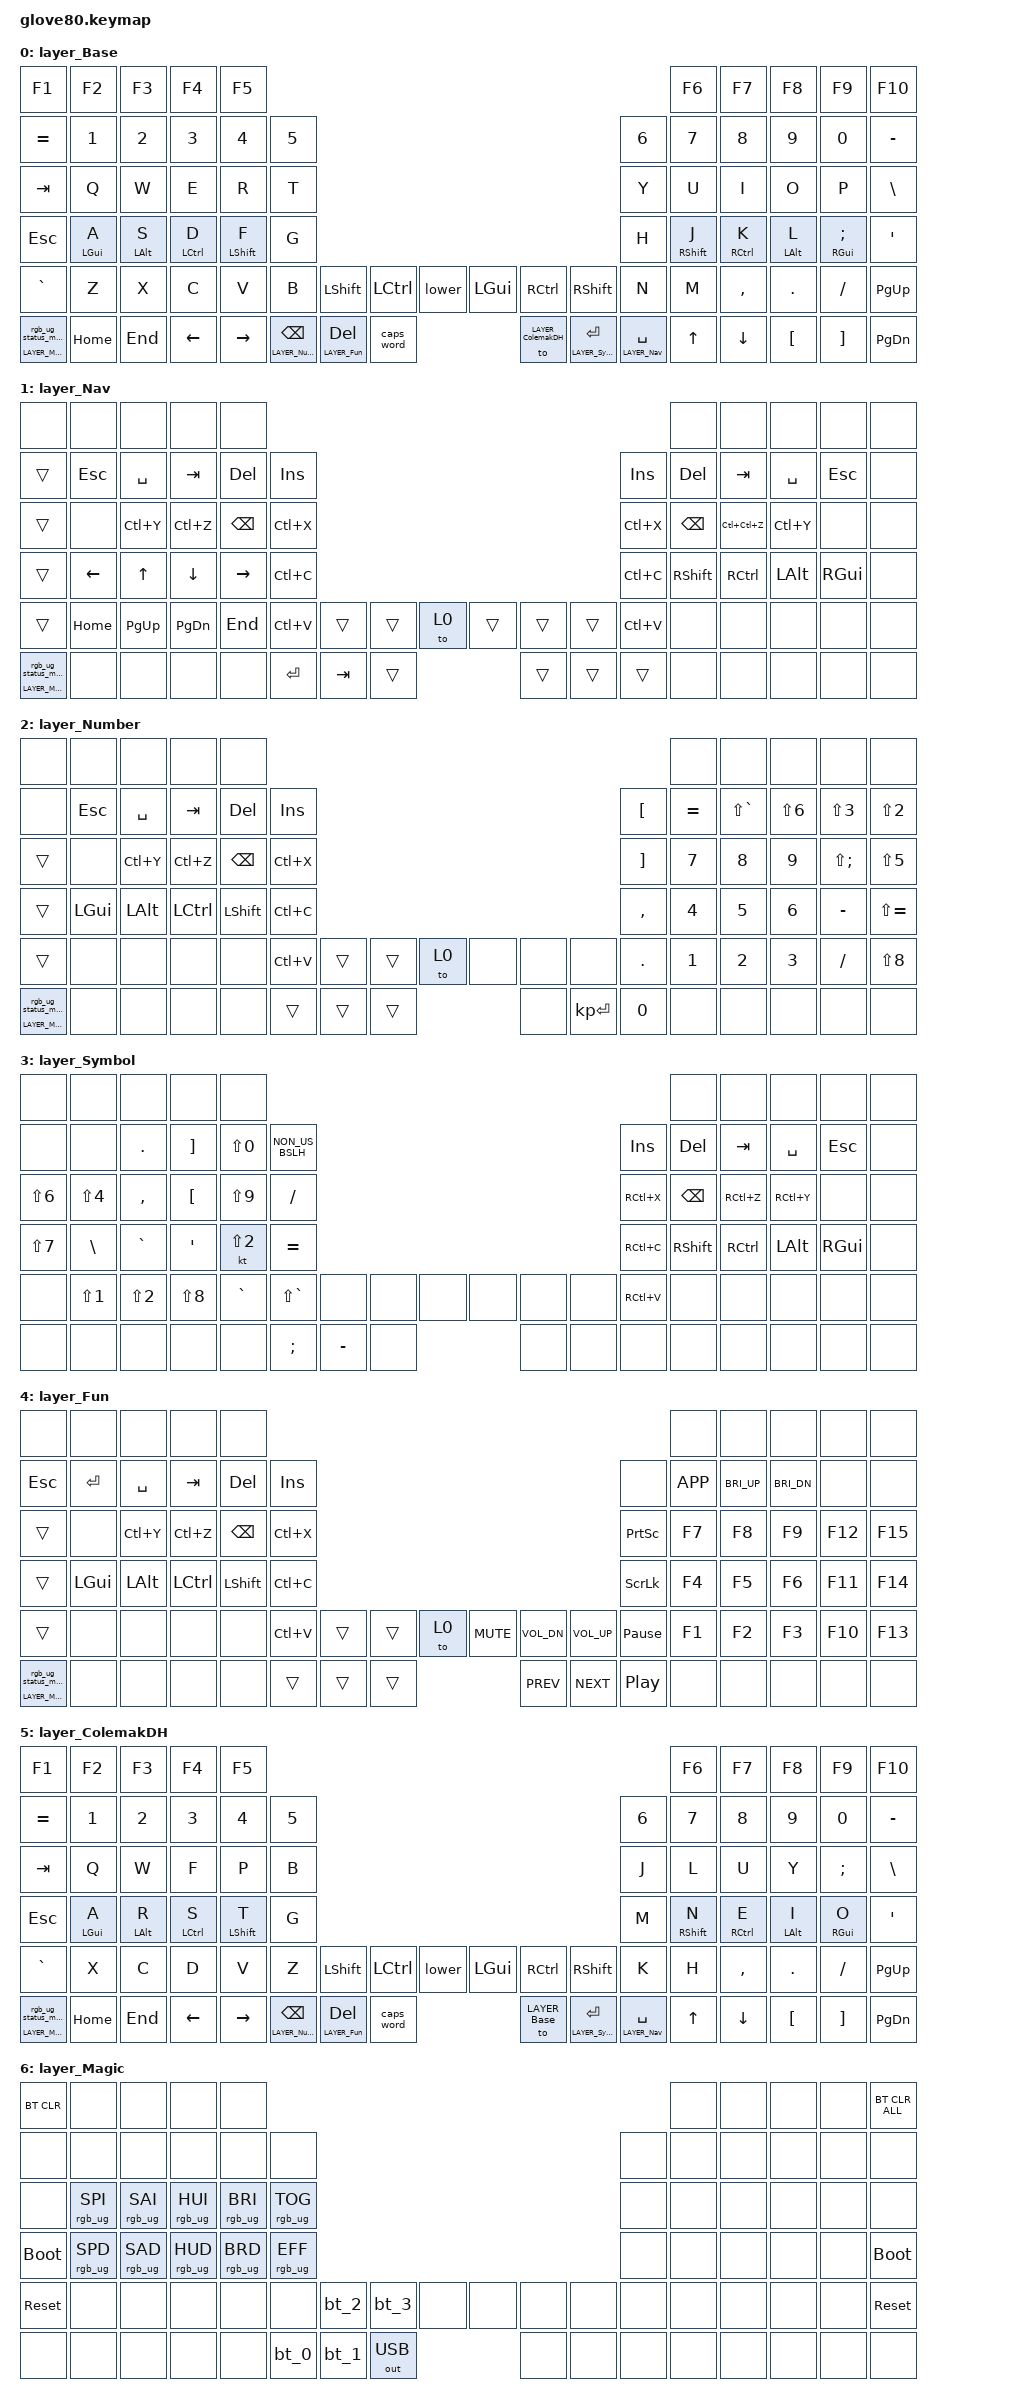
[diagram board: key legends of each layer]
/*
 * Copyright (c) 2020 The ZMK Contributors
 * Copyright (c) 2025 Innaworks Development Limited, trading as MoErgo
 *
 * SPDX-License-Identifier: MIT
 */


/* THIS FILE WAS GENERATED BY GLOVE80 LAYOUT EDITOR
 *
 * This file was generated automatically. You may or may not want to
 * edit it directly.
 */

#include <behaviors.dtsi>
/* Include all behavior includes needed */
#include <dt-bindings/zmk/outputs.h>
#include <dt-bindings/zmk/keys.h>
#include <dt-bindings/zmk/bt.h>
#include <dt-bindings/zmk/rgb.h>

/* On demand includes */


/* Helper Macros, based on https://github.com/urob/zmk-helpers/ */

#pragma once

#define ZMK_HELPER_STRINGIFY(x) #x

// Preprocessor mechanism to overload macros, cf. https://stackoverflow.com/a/27051616/6114651
#define VARGS_(_10, _9, _8, _7, _6, _5, _4, _3, _2, _1, N, ...) N
#define VARGS(...) VARGS_(__VA_ARGS__, 10, 9, 8, 7, 6, 5, 4, 3, 2, 1, 0)
#define CONCAT_(a, b) a##b
#define CONCAT(a, b) CONCAT_(a, b)

#define ZMK_BEHAVIOR_CORE_tap_dance  \
    compatible = "zmk,behavior-tap-dance"; \
    #binding-cells = <0>

#define ZMK_BEHAVIOR(name, type, ...) \
    name: name { \
        ZMK_BEHAVIOR_CORE_ ## type; \
        __VA_ARGS__ \
    };

#define ZMK_TAP_DANCE(name, ...) \
    ZMK_BEHAVIOR(name, tap_dance, __VA_ARGS__)

#define ZMK_TD_LAYER(name, layer) \
    ZMK_TAP_DANCE(name, \
        tapping-term-ms = <200>; \
        bindings = <&mo layer>, <&to layer>; \
)

/* Environment and metadata defines */
#define KB_TYPE_GLOVE_80 1
#define KB_TYPE_GO_60    2

#define KB_TYPE          KB_TYPE_GLOVE_80
#define EDITOR_HOST_OS   'W'

/* Automatically generated layer name defines */
#define LAYER_Base 0
#define LAYER_Nav 1
#define LAYER_Number 2
#define LAYER_Symbol 3
#define LAYER_Fun 4
#define LAYER_ColemakDH 5
#define LAYER_Magic 6

/* To deal with the situation where there is no Lower layer, to keep &lower happy */
#ifndef LAYER_Lower
#define LAYER_Lower 0
#endif

/* Custom Device-tree */


/* Input Listeners */


/* System behavior and Macros */
/ {
    behaviors {
        ZMK_TD_LAYER(lower, LAYER_Lower)
    };
};

/ {
    macros {
        rgb_ug_status_macro: rgb_ug_status_macro {
            label = "RGB_UG_STATUS";
            compatible = "zmk,behavior-macro";
            #binding-cells = <0>;
            bindings
                = <&rgb_ug RGB_STATUS>;
        };
    };
};


/ {
#ifdef BT_DISC_CMD
    behaviors {
        bt_0: bt_0 {
            compatible = "zmk,behavior-tap-dance";
            label = "BT_0";
            #binding-cells = <0>;
            tapping-term-ms = <200>;
            bindings = <&bt_select_0>, <&bt BT_DISC 0>;
        };
        bt_1: bt_1 {
            compatible = "zmk,behavior-tap-dance";
            label = "BT_1";
            #binding-cells = <0>;
            tapping-term-ms = <200>;
            bindings = <&bt_select_1>, <&bt BT_DISC 1>;
        };
        bt_2: bt_2 {
            compatible = "zmk,behavior-tap-dance";
            label = "BT_2";
            #binding-cells = <0>;
            tapping-term-ms = <200>;
            bindings = <&bt_select_2>, <&bt BT_DISC 2>;
        };
        bt_3: bt_3 {
            compatible = "zmk,behavior-tap-dance";
            label = "BT_3";
            #binding-cells = <0>;
            tapping-term-ms = <200>;
            bindings = <&bt_select_3>, <&bt BT_DISC 3>;
        };
    };
    macros {
        bt_select_0: bt_select_0 {
            label = "BT_SELECT_0";
            compatible = "zmk,behavior-macro";
            #binding-cells = <0>;
            bindings
                = <&out OUT_BLE>,
                  <&bt BT_SEL 0>;
        };
        bt_select_1: bt_select_1 {
            label = "BT_SELECT_1";
            compatible = "zmk,behavior-macro";
            #binding-cells = <0>;
            bindings
                = <&out OUT_BLE>,
                  <&bt BT_SEL 1>;
        };
        bt_select_2: bt_select_2 {
            label = "BT_SELECT_2";
            compatible = "zmk,behavior-macro";
            #binding-cells = <0>;
            bindings
                = <&out OUT_BLE>,
                  <&bt BT_SEL 2>;
        };
        bt_select_3: bt_select_3 {
            label = "BT_SELECT_3";
            compatible = "zmk,behavior-macro";
            #binding-cells = <0>;
            bindings
                = <&out OUT_BLE>,
                  <&bt BT_SEL 3>;
        };
    };
#else
    macros {
        bt_0: bt_0 {
            label = "BT_0";
            compatible = "zmk,behavior-macro";
            #binding-cells = <0>;
            bindings
                = <&out OUT_BLE>,
                  <&bt BT_SEL 0>;
        };
        bt_1: bt_1 {
            label = "BT_1";
            compatible = "zmk,behavior-macro";
            #binding-cells = <0>;
            bindings
                = <&out OUT_BLE>,
                  <&bt BT_SEL 1>;
        };
        bt_2: bt_2 {
            label = "BT_2";
            compatible = "zmk,behavior-macro";
            #binding-cells = <0>;
            bindings
                = <&out OUT_BLE>,
                  <&bt BT_SEL 2>;
        };
        bt_3: bt_3 {
            label = "BT_3";
            compatible = "zmk,behavior-macro";
            #binding-cells = <0>;
            bindings
                = <&out OUT_BLE>,
                  <&bt BT_SEL 3>;
        };
    };
#endif
};

/ {
    behaviors {
        magic: magic {
            compatible = "zmk,behavior-hold-tap";
            label = "MAGIC_HOLD_TAP";
            #binding-cells = <2>;
            flavor = "tap-preferred";
            tapping-term-ms = <200>;
            bindings = <&mo>, <&rgb_ug_status_macro>;
        };
    };
};


/* Locale-specific keycodes */

#define GB_N2 N2
#define GB_N3 N3
#define GB_N4 N4
#define GB_A A
#define GB_E E
#define GB_I I
#define GB_O O
#define GB_U U
#define GB_POUND BACKSLASH
#define GB_BACKSLASH NON_US_BACKSLASH
#define GB_GRAVE GRAVE
#define GB_APOS SQT


/* Key positions */

#define POS_LH_C6R1 0
#define POS_LH_C5R1 1
#define POS_LH_C4R1 2
#define POS_LH_C3R1 3
#define POS_LH_C2R1 4
#define POS_RH_C2R1 5
#define POS_RH_C3R1 6
#define POS_RH_C4R1 7
#define POS_RH_C5R1 8
#define POS_RH_C6R1 9
#define POS_LH_C6R2 10
#define POS_LH_C5R2 11
#define POS_LH_C4R2 12
#define POS_LH_C3R2 13
#define POS_LH_C2R2 14
#define POS_LH_C1R2 15
#define POS_RH_C1R2 16
#define POS_RH_C2R2 17
#define POS_RH_C3R2 18
#define POS_RH_C4R2 19
#define POS_RH_C5R2 20
#define POS_RH_C6R2 21
#define POS_LH_C6R3 22
#define POS_LH_C5R3 23
#define POS_LH_C4R3 24
#define POS_LH_C3R3 25
#define POS_LH_C2R3 26
#define POS_LH_C1R3 27
#define POS_RH_C1R3 28
#define POS_RH_C2R3 29
#define POS_RH_C3R3 30
#define POS_RH_C4R3 31
#define POS_RH_C5R3 32
#define POS_RH_C6R3 33
#define POS_LH_C6R4 34
#define POS_LH_C5R4 35
#define POS_LH_C4R4 36
#define POS_LH_C3R4 37
#define POS_LH_C2R4 38
#define POS_LH_C1R4 39
#define POS_RH_C1R4 40
#define POS_RH_C2R4 41
#define POS_RH_C3R4 42
#define POS_RH_C4R4 43
#define POS_RH_C5R4 44
#define POS_RH_C6R4 45
#define POS_LH_C6R5 46
#define POS_LH_C5R5 47
#define POS_LH_C4R5 48
#define POS_LH_C3R5 49
#define POS_LH_C2R5 50
#define POS_LH_C1R5 51
#define POS_LH_T1 52
#define POS_LH_T2 53
#define POS_LH_T3 54
#define POS_RH_T3 55
#define POS_RH_T2 56
#define POS_RH_T1 57
#define POS_RH_C1R5 58
#define POS_RH_C2R5 59
#define POS_RH_C3R5 60
#define POS_RH_C4R5 61
#define POS_RH_C5R5 62
#define POS_RH_C6R5 63
#define POS_LH_C6R6 64
#define POS_LH_C5R6 65
#define POS_LH_C4R6 66
#define POS_LH_C3R6 67
#define POS_LH_C2R6 68
#define POS_LH_T4 69
#define POS_LH_T5 70
#define POS_LH_T6 71
#define POS_RH_T6 72
#define POS_RH_T5 73
#define POS_RH_T4 74
#define POS_RH_C2R6 75
#define POS_RH_C3R6 76
#define POS_RH_C4R6 77
#define POS_RH_C5R6 78
#define POS_RH_C6R6 79


/* Custom Defined Behaviors */
/ {

};

/* Generated input processors */


/* Automatically generated macro definitions */
/ {
    macros {

    };
};

/* Automatically generated behavior definitions */
/ {
    behaviors {


        // Home row mod - Timeless setup - Left hand
        hml: hml {
            compatible = "zmk,behavior-hold-tap";
            #binding-cells = <2>;
            tapping-term-ms = <280>;
            bindings = <&kp>, <&kp>;
            flavor = "balanced";
            quick-tap-ms = <175>;
            require-prior-idle-ms = <150>;
            hold-trigger-key-positions = <POS_RH_C1R2 POS_RH_C2R2 POS_RH_C3R2 POS_RH_C2R1 POS_RH_C3R1 POS_RH_C4R1 POS_RH_C4R2 POS_RH_C5R1 POS_RH_C5R2 POS_RH_C6R1 POS_RH_C6R2 POS_RH_C1R3 POS_RH_C4R3 POS_RH_C3R4 POS_RH_C3R3 POS_RH_C2R3 POS_RH_C2R4 POS_RH_C1R4 POS_RH_C1R5 POS_RH_C2R5 POS_RH_C3R5 POS_RH_C2R6 POS_RH_C4R6 POS_RH_C4R4 POS_RH_C4R5 POS_RH_C3R6 POS_RH_C5R5 POS_RH_C5R4 POS_RH_C5R3 POS_RH_C6R3 POS_RH_C6R4 POS_RH_C6R5 POS_RH_C5R6 POS_RH_C6R6 POS_RH_T1 POS_RH_T2 POS_RH_T3 POS_RH_T6 POS_RH_T5 POS_RH_T4>;
            hold-trigger-on-release;
        };

        // Home row mod - Timeless setup - Right hand
        hmr: hmr {
            compatible = "zmk,behavior-hold-tap";
            #binding-cells = <2>;
            tapping-term-ms = <280>;
            bindings = <&kp>, <&kp>;
            flavor = "balanced";
            quick-tap-ms = <175>;
            require-prior-idle-ms = <150>;
            hold-trigger-key-positions = <POS_LH_T3 POS_LH_T2 POS_LH_T1 POS_LH_T4 POS_LH_T5 POS_LH_T6 POS_LH_C6R6 POS_LH_C5R6 POS_LH_C5R5 POS_LH_C6R5 POS_LH_C6R4 POS_LH_C5R4 POS_LH_C5R3 POS_LH_C6R3 POS_LH_C6R2 POS_LH_C5R2 POS_LH_C5R1 POS_LH_C6R1 POS_LH_C4R1 POS_LH_C3R1 POS_LH_C2R1 POS_LH_C2R2 POS_LH_C3R2 POS_LH_C4R2 POS_LH_C4R3 POS_LH_C3R3 POS_LH_C3R4 POS_LH_C4R4 POS_LH_C4R5 POS_LH_C3R5 POS_LH_C3R6 POS_LH_C4R6 POS_LH_C2R6 POS_LH_C2R5 POS_LH_C1R5 POS_LH_C1R4 POS_LH_C2R4 POS_LH_C2R3 POS_LH_C1R3 POS_LH_C1R2>;
            hold-trigger-on-release;
        };
    };
};

/* Automatically generated combos definitions */


/* Automatically generated keymap */
/ {
    keymap {
        compatible = "zmk,keymap";


        layer_Base {
            bindings = <
               &kp F1       &kp F2       &kp F3        &kp F4        &kp F5                                                                                                                                                &kp F6        &kp F7       &kp F8          &kp F9    &kp F10
            &kp EQUAL       &kp N1       &kp N2        &kp N3        &kp N4  &kp N5                                                                                                                          &kp N6        &kp N7        &kp N8       &kp N9          &kp N0  &kp MINUS
              &kp TAB        &kp Q        &kp W         &kp E         &kp R   &kp T                                                                                                                           &kp Y         &kp U         &kp I        &kp O           &kp P   &kp BSLH
              &kp ESC  &hml LGUI A  &hml LALT S  &hml LCTRL D  &hml LSHFT F   &kp G                                                                                                                           &kp H  &hmr RSHFT J  &hmr RCTRL K  &hmr LALT L  &hmr RGUI SEMI    &kp SQT
            &kp GRAVE        &kp Z        &kp X         &kp C         &kp V   &kp B              &kp LSHFT          &kp LCTRL      &lower             &kp LGUI             &kp RCTRL              &kp RSHFT   &kp N         &kp M     &kp COMMA      &kp DOT        &kp FSLH  &kp PG_UP
 &magic LAYER_Magic 0     &kp HOME      &kp END      &kp LEFT     &kp RIGHT          &lt LAYER_Number BSPC  &lt LAYER_Fun DEL  &caps_word  &to LAYER_ColemakDH  &lt LAYER_Symbol RET    &lt LAYER_Nav SPACE                &kp UP      &kp DOWN     &kp LBKT        &kp RBKT  &kp PG_DN
            >;
        };

        layer_Nav {
            bindings = <
                &none     &none      &none      &none      &none                                                                              &none          &none      &none     &none   &none
               &trans   &kp ESC  &kp SPACE    &kp TAB    &kp DEL    &kp INS                                                      &kp INS    &kp DEL        &kp TAB  &kp SPACE   &kp ESC   &none
               &trans     &none  &kp LC(Y)  &kp LC(Z)   &kp BSPC  &kp LC(X)                                                    &kp LC(X)   &kp BSPC  &kp LC(LC(Z))  &kp LC(Y)     &none   &none
               &trans  &kp LEFT     &kp UP   &kp DOWN  &kp RIGHT  &kp LC(C)                                                    &kp LC(C)  &kp RSHFT      &kp RCTRL   &kp LALT  &kp RGUI   &none
               &trans  &kp HOME  &kp PG_UP  &kp PG_DN    &kp END  &kp LC(V)   &trans   &trans   &to 0  &trans  &trans  &trans  &kp LC(V)      &none          &none      &none     &none   &none
 &magic LAYER_Magic 0     &none      &none      &none      &none             &kp RET  &kp TAB  &trans  &trans  &trans  &trans                 &none          &none      &none     &none   &none
            >;
        };

        layer_Number {
            bindings = <
                &none     &none      &none      &none      &none                                                                                  &none          &none       &none         &none          &none
                &none   &kp ESC  &kp SPACE    &kp TAB    &kp DEL    &kp INS                                                         &kp LBKT  &kp EQUAL  &kp LS(GRAVE)  &kp LS(N6)    &kp LS(N3)     &kp LS(N2)
               &trans     &none  &kp LC(Y)  &kp LC(Z)   &kp BSPC  &kp LC(X)                                                         &kp RBKT     &kp N7         &kp N8      &kp N9  &kp LS(SEMI)     &kp LS(N5)
               &trans  &kp LGUI   &kp LALT  &kp LCTRL  &kp LSHFT  &kp LC(C)                                                        &kp COMMA     &kp N4         &kp N5      &kp N6     &kp MINUS  &kp LS(EQUAL)
               &trans     &none      &none      &none      &none  &kp LC(V)  &trans  &trans   &to 0   &none         &none   &none    &kp DOT     &kp N1         &kp N2      &kp N3      &kp FSLH     &kp LS(N8)
 &magic LAYER_Magic 0     &none      &none      &none      &none             &trans  &trans  &trans   &none  &kp KP_ENTER  &kp N0                 &none          &none       &none         &none          &none
            >;
        };

        layer_Symbol {
            bindings = <
      &none       &none       &none       &none       &none                                                                                       &none      &none      &none     &none   &none
      &none       &none     &kp DOT    &kp RBKT  &kp LS(N0)  &kp NON_US_BSLH                                                         &kp INS    &kp DEL    &kp TAB  &kp SPACE   &kp ESC   &none
 &kp LS(N6)  &kp LS(N4)   &kp COMMA    &kp LBKT  &kp LS(N9)         &kp FSLH                                                       &kp RC(X)   &kp BSPC  &kp RC(Z)  &kp RC(Y)     &none   &none
 &kp LS(N7)    &kp BSLH   &kp GRAVE     &kp SQT  &kt LS(N2)        &kp EQUAL                                                       &kp RC(C)  &kp RSHFT  &kp RCTRL   &kp LALT  &kp RGUI   &none
      &none  &kp LS(N1)  &kp LS(N2)  &kp LS(N8)   &kp GRAVE    &kp LS(GRAVE)     &none      &none   &none   &none   &none   &none  &kp RC(V)      &none      &none      &none     &none   &none
      &none       &none       &none       &none       &none                   &kp SEMI  &kp MINUS   &none   &none   &none   &none                 &none      &none      &none     &none   &none
            >;
        };

        layer_Fun {
            bindings = <
                &none     &none      &none      &none      &none                                                                                                  &none         &none         &none    &none    &none
              &kp ESC   &kp RET  &kp SPACE    &kp TAB    &kp DEL    &kp INS                                                                            &none  &kp K_APP  &kp C_BRI_UP  &kp C_BRI_DN    &none    &none
               &trans     &none  &kp LC(Y)  &kp LC(Z)   &kp BSPC  &kp LC(X)                                                                        &kp PSCRN     &kp F7        &kp F8        &kp F9  &kp F12  &kp F15
               &trans  &kp LGUI   &kp LALT  &kp LCTRL  &kp LSHFT  &kp LC(C)                                                                         &kp SLCK     &kp F4        &kp F5        &kp F6  &kp F11  &kp F14
               &trans     &none      &none      &none      &none  &kp LC(V)  &trans  &trans   &to 0  &kp C_MUTE  &kp C_VOL_DN  &kp C_VOL_UP  &kp PAUSE_BREAK     &kp F1        &kp F2        &kp F3  &kp F10  &kp F13
 &magic LAYER_Magic 0     &none      &none      &none      &none             &trans  &trans  &trans  &kp C_PREV    &kp C_NEXT      &kp C_PP                       &none         &none         &none    &none    &none
            >;
        };

        layer_ColemakDH {
            bindings = <
               &kp F1       &kp F2       &kp F3        &kp F4        &kp F5                                                                                                                                                &kp F6        &kp F7       &kp F8          &kp F9    &kp F10
            &kp EQUAL       &kp N1       &kp N2        &kp N3        &kp N4  &kp N5                                                                                                                          &kp N6        &kp N7        &kp N8       &kp N9          &kp N0  &kp MINUS
              &kp TAB        &kp Q        &kp W         &kp F         &kp P   &kp B                                                                                                                           &kp J         &kp L         &kp U        &kp Y        &kp SEMI   &kp BSLH
              &kp ESC  &hml LGUI A  &hml LALT R  &hml LCTRL S  &hml LSHFT T   &kp G                                                                                                                           &kp M  &hmr RSHFT N  &hmr RCTRL E  &hmr LALT I     &hmr RGUI O    &kp SQT
            &kp GRAVE        &kp X        &kp C         &kp D         &kp V   &kp Z              &kp LSHFT          &kp LCTRL                 &lower  &kp LGUI             &kp RCTRL              &kp RSHFT   &kp K         &kp H     &kp COMMA      &kp DOT        &kp FSLH  &kp PG_UP
 &magic LAYER_Magic 0     &kp HOME      &kp END      &kp LEFT     &kp RIGHT          &lt LAYER_Number BSPC  &lt LAYER_Fun DEL  &caps_word       &to LAYER_Base  &lt LAYER_Symbol RET    &lt LAYER_Nav SPACE                &kp UP      &kp DOWN     &kp LBKT        &kp RBKT  &kp PG_DN
            >;
        };

        layer_Magic {
            bindings = <
  &bt BT_CLR            &none            &none            &none            &none                                                                                  &none   &none   &none   &none  &bt BT_CLR_ALL
       &none            &none            &none            &none            &none            &none                                                         &none   &none   &none   &none   &none           &none
       &none  &rgb_ug RGB_SPI  &rgb_ug RGB_SAI  &rgb_ug RGB_HUI  &rgb_ug RGB_BRI  &rgb_ug RGB_TOG                                                         &none   &none   &none   &none   &none           &none
 &bootloader  &rgb_ug RGB_SPD  &rgb_ug RGB_SAD  &rgb_ug RGB_HUD  &rgb_ug RGB_BRD  &rgb_ug RGB_EFF                                                         &none   &none   &none   &none   &none     &bootloader
  &sys_reset            &none            &none            &none            &none            &none   &bt_2   &bt_3         &none   &none   &none   &none   &none   &none   &none   &none   &none      &sys_reset
       &none            &none            &none            &none            &none                    &bt_0   &bt_1  &out OUT_USB   &none   &none   &none           &none   &none   &none   &none           &none
            >;
        };

    };
};
